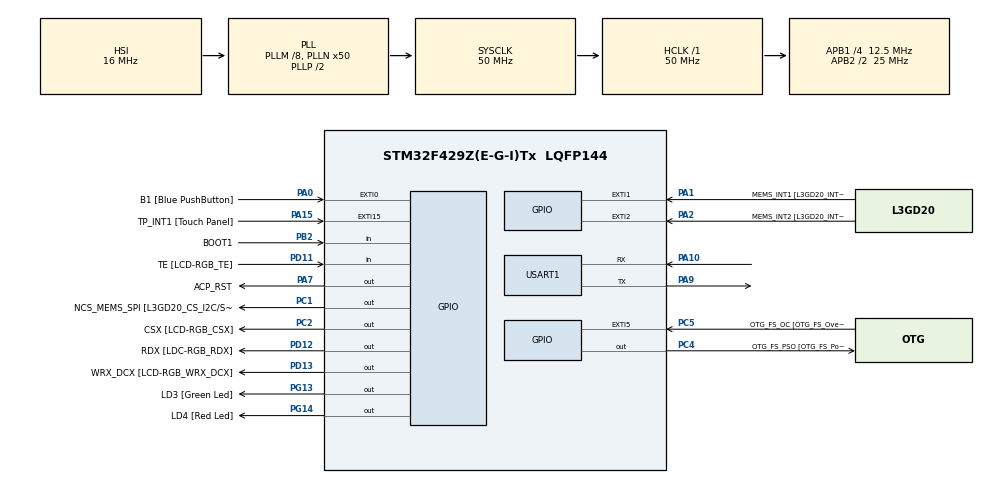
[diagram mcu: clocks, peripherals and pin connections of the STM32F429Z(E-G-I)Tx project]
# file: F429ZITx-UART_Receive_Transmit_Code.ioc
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Dma.Request0=USART1_RX
Dma.Request1=USART1_TX
Dma.USART1_RX.0.Direction=DMA_PERIPH_TO_MEMORY
Dma.USART1_RX.0.FIFOMode=DMA_FIFOMODE_DISABLE
Dma.USART1_RX.0.Instance=DMA2_Stream2
Dma.USART1_RX.0.MemDataAlignment=DMA_MDATAALIGN_BYTE
Dma.USART1_RX.0.MemInc=DMA_MINC_ENABLE
Dma.USART1_RX.0.Mode=DMA_CIRCULAR
Dma.USART1_RX.0.PeriphDataAlignment=DMA_PDATAALIGN_BYTE
Dma.USART1_RX.0.PeriphInc=DMA_PINC_DISABLE
Dma.USART1_RX.0.Priority=DMA_PRIORITY_LOW
Dma.USART1_TX.1.Direction=DMA_MEMORY_TO_PERIPH
Dma.USART1_TX.1.FIFOMode=DMA_FIFOMODE_DISABLE
Dma.USART1_TX.1.Instance=DMA2_Stream7
Dma.USART1_TX.1.MemDataAlignment=DMA_MDATAALIGN_BYTE
Dma.USART1_TX.1.MemInc=DMA_MINC_ENABLE
Dma.USART1_TX.1.Mode=DMA_NORMAL
Dma.USART1_TX.1.PeriphDataAlignment=DMA_PDATAALIGN_BYTE
Dma.USART1_TX.1.PeriphInc=DMA_PINC_DISABLE
Dma.USART1_TX.1.Priority=DMA_PRIORITY_LOW
Mcu.Family=STM32F4
Mcu.Name=STM32F429Z(E-G-I)Tx
Mcu.Package=LQFP144
NVIC.DMA2_Stream2_IRQn=true\:0\:0\:false\:false\:true
NVIC.DMA2_Stream7_IRQn=true\:0\:0\:false\:false\:true
NVIC.PriorityGroup=NVIC_PRIORITYGROUP_0
NVIC.TIM8_TRG_COM_TIM14_IRQn=true\:0\:0\:false\:false\:true
NVIC.USART1_IRQn=true\:0\:0\:false\:false\:true
PA0/WKUP.GPIO_Label=B1 [Blue PushButton]
PA0/WKUP.GPIO_ModeDefaultEXTI=GPIO_MODE_EVT_RISING
PA0/WKUP.GPIO_PuPd=GPIO_NOPULL
PA0/WKUP.Signal=GPXTI0
PA1.GPIO_Label=MEMS_INT1 [L3GD20_INT1]
PA1.GPIO_ModeDefaultEXTI=GPIO_MODE_EVT_RISING
PA1.GPIO_PuPd=GPIO_NOPULL
PA1.Signal=GPXTI1
PA10.Mode=Asynchronous
PA10.Signal=USART1_RX
PA11.GPIO_Label=R4
PA11.GPIO_Mode=GPIO_MODE_AF_PP
PA11.GPIO_PuPd=GPIO_NOPULL
PA11.GPIO_Speed=GPIO_SPEED_FREQ_LOW
PA11.Signal=LTDC_R4
PA12.GPIO_Label=R5
PA12.GPIO_Mode=GPIO_MODE_AF_PP
PA12.GPIO_PuPd=GPIO_NOPULL
PA12.GPIO_Speed=GPIO_SPEED_FREQ_LOW
PA12.Signal=LTDC_R5
PA13.GPIO_Label=SWDIO
PA13.Signal=SYS_JTMS-SWDIO
PA14.GPIO_Label=SWCLK
PA14.Signal=SYS_JTCK-SWCLK
PA15.GPIO_Label=TP_INT1 [Touch Panel]
PA15.GPIO_ModeDefaultEXTI=GPIO_MODE_EVT_RISING
PA15.GPIO_PuPd=GPIO_NOPULL
PA15.Signal=GPXTI15
PA2.GPIO_Label=MEMS_INT2 [L3GD20_INT2]
PA2.GPIO_ModeDefaultEXTI=GPIO_MODE_EVT_RISING
PA2.GPIO_PuPd=GPIO_NOPULL
PA2.Signal=GPXTI2
PA3.GPIO_Label=B5
PA3.GPIO_Mode=GPIO_MODE_AF_PP
PA3.GPIO_PuPd=GPIO_NOPULL
PA3.GPIO_Speed=GPIO_SPEED_FREQ_LOW
PA3.Signal=LTDC_B5
PA4.GPIO_Label=VSYNC
PA4.GPIO_Mode=GPIO_MODE_AF_PP
PA4.GPIO_PuPd=GPIO_NOPULL
PA4.GPIO_Speed=GPIO_SPEED_FREQ_LOW
PA4.Signal=LTDC_VSYNC
PA6.GPIO_Label=G2
PA6.GPIO_Mode=GPIO_MODE_AF_PP
PA6.GPIO_PuPd=GPIO_NOPULL
PA6.GPIO_Speed=GPIO_SPEED_FREQ_LOW
PA6.Signal=LTDC_G2
PA7.GPIO_Label=ACP_RST
PA7.GPIO_Mode=GPIO_MODE_OUTPUT_PP
PA7.GPIO_PuPd=GPIO_NOPULL
PA7.GPIO_Speed=GPIO_SPEED_FREQ_LOW
PA7.Signal=GPIO_Output
PA8.GPIO_Label=I2C3_SCL [ACP/RF_SCL]
PA8.GPIO_Mode=GPIO_MODE_AF_OD
PA8.GPIO_PuPd=GPIO_NOPULL
PA8.GPIO_Speed=GPIO_SPEED_FREQ_LOW
PA8.Signal=I2C3_SCL
PA9.Mode=Asynchronous
PA9.Signal=USART1_TX
PB0.GPIO_Label=R3
PB0.GPIO_Mode=GPIO_MODE_AF_PP
PB0.GPIO_PuPd=GPIO_NOPULL
PB0.GPIO_Speed=GPIO_SPEED_FREQ_LOW
PB0.Signal=LTDC_R3
PB1.GPIO_Label=R6
PB1.GPIO_Mode=GPIO_MODE_AF_PP
PB1.GPIO_PuPd=GPIO_NOPULL
PB1.GPIO_Speed=GPIO_SPEED_FREQ_LOW
PB1.Signal=LTDC_R6
PB10.GPIO_Label=G4
PB10.GPIO_Mode=GPIO_MODE_AF_PP
PB10.GPIO_PuPd=GPIO_NOPULL
PB10.GPIO_Speed=GPIO_SPEED_FREQ_LOW
PB10.Signal=LTDC_G4
PB11.GPIO_Label=G5
PB11.GPIO_Mode=GPIO_MODE_AF_PP
PB11.GPIO_PuPd=GPIO_NOPULL
PB11.GPIO_Speed=GPIO_SPEED_FREQ_LOW
PB11.Signal=LTDC_G5
PB12.GPIO_Label=OTG_FS_ID
PB12.GPIO_Mode=GPIO_MODE_AF_PP
PB12.GPIO_PuPd=GPIO_NOPULL
PB12.GPIO_Speed=GPIO_SPEED_FREQ_LOW
PB12.Signal=USB_OTG_HS_ID
PB13.GPIO_Label=VBUS_FS
PB13.GPIO_Mode=GPIO_MODE_INPUT
PB13.GPIO_PuPd=GPIO_NOPULL
PB13.Signal=USB_OTG_HS_VBUS
PB14.GPIO_Label=OTG_FS_DM
PB14.GPIO_Mode=GPIO_MODE_AF_PP
PB14.GPIO_PuPd=GPIO_NOPULL
PB14.GPIO_Speed=GPIO_SPEED_FREQ_LOW
PB14.Signal=USB_OTG_HS_DM
PB15.GPIO_Label=OTG_FS_DP
PB15.GPIO_Mode=GPIO_MODE_AF_PP
PB15.GPIO_PuPd=GPIO_NOPULL
PB15.GPIO_Speed=GPIO_SPEED_FREQ_LOW
PB15.Signal=USB_OTG_HS_DP
PB2/BOOT1.GPIO_Label=BOOT1
PB2/BOOT1.GPIO_Mode=GPIO_MODE_INPUT
PB2/BOOT1.GPIO_PuPd=GPIO_NOPULL
PB2/BOOT1.Signal=GPIO_Input
PB5.GPIO_Label=SDCKE1
PB5.GPIO_Mode=GPIO_MODE_AF_PP
PB5.GPIO_PuPd=GPIO_NOPULL
PB5.GPIO_Speed=GPIO_SPEED_FREQ_VERY_HIGH
PB5.Signal=FMC_SDCKE1
PB6.GPIO_Label=SDNE1 [SDRAM_CS]
PB6.GPIO_Mode=GPIO_MODE_AF_PP
PB6.GPIO_PuPd=GPIO_NOPULL
PB6.GPIO_Speed=GPIO_SPEED_FREQ_VERY_HIGH
PB6.Signal=FMC_SDNE1
PB8.GPIO_Label=B6
PB8.GPIO_Mode=GPIO_MODE_AF_PP
PB8.GPIO_PuPd=GPIO_NOPULL
PB8.GPIO_Speed=GPIO_SPEED_FREQ_LOW
PB8.Signal=LTDC_B6
PB9.GPIO_Label=B7
PB9.GPIO_Mode=GPIO_MODE_AF_PP
PB9.GPIO_PuPd=GPIO_NOPULL
PB9.GPIO_Speed=GPIO_SPEED_FREQ_LOW
PB9.Signal=LTDC_B7
PC0.GPIO_Label=SDNWE
PC0.GPIO_Mode=GPIO_MODE_AF_PP
PC0.GPIO_PuPd=GPIO_NOPULL
PC0.GPIO_Speed=GPIO_SPEED_FREQ_VERY_HIGH
PC0.Signal=FMC_SDNWE
PC1.GPIO_Label=NCS_MEMS_SPI [L3GD20_CS_I2C/SPI]
PC1.GPIO_Mode=GPIO_MODE_OUTPUT_PP
PC1.GPIO_PuPd=GPIO_NOPULL
PC1.GPIO_Speed=GPIO_SPEED_FREQ_LOW
PC1.Signal=GPIO_Output
PC10.GPIO_Label=R2
PC10.GPIO_Mode=GPIO_MODE_AF_PP
PC10.GPIO_PuPd=GPIO_NOPULL
PC10.GPIO_Speed=GPIO_SPEED_FREQ_LOW
PC10.Signal=LTDC_R2
PC14/OSC32_IN.GPIO_Label=PC14-OSC32_IN
PC14/OSC32_IN.Signal=RCC_OSC32_IN
PC15/OSC32_OUT.GPIO_Label=PC15-OSC32_OUT
PC15/OSC32_OUT.Signal=RCC_OSC32_OUT
PC2.GPIO_Label=CSX [LCD-RGB_CSX]
PC2.GPIO_Mode=GPIO_MODE_OUTPUT_PP
PC2.GPIO_PuPd=GPIO_NOPULL
PC2.GPIO_Speed=GPIO_SPEED_FREQ_LOW
PC2.Signal=GPIO_Output
PC4.GPIO_Label=OTG_FS_PSO [OTG_FS_PowerSwitchOn]
PC4.GPIO_Mode=GPIO_MODE_OUTPUT_PP
PC4.GPIO_PuPd=GPIO_NOPULL
PC4.GPIO_Speed=GPIO_SPEED_FREQ_LOW
PC4.Signal=GPIO_Output
PC5.GPIO_Label=OTG_FS_OC [OTG_FS_OverCurrent]
PC5.GPIO_ModeDefaultEXTI=GPIO_MODE_EVT_RISING
PC5.Signal=GPXTI5
PC6.GPIO_Label=HSYNC
PC6.GPIO_Mode=GPIO_MODE_AF_PP
PC6.GPIO_PuPd=GPIO_NOPULL
PC6.GPIO_Speed=GPIO_SPEED_FREQ_LOW
PC6.Signal=LTDC_HSYNC
PC7.GPIO_Label=G6
PC7.GPIO_Mode=GPIO_MODE_AF_PP
PC7.GPIO_PuPd=GPIO_NOPULL
PC7.GPIO_Speed=GPIO_SPEED_FREQ_LOW
PC7.Signal=LTDC_G6
PC9.GPIO_Label=I2C3_SDA [ACP/RF_SDA]
PC9.GPIO_Mode=GPIO_MODE_AF_OD
PC9.GPIO_PuPd=GPIO_NOPULL
PC9.GPIO_Speed=GPIO_SPEED_FREQ_LOW
PC9.Signal=I2C3_SDA
PD0.GPIO_Label=D2
PD0.GPIO_Mode=GPIO_MODE_AF_PP
PD0.GPIO_PuPd=GPIO_NOPULL
PD0.GPIO_Speed=GPIO_SPEED_FREQ_VERY_HIGH
PD0.Signal=FMC_D2_DA2
PD1.GPIO_Label=D3
PD1.GPIO_Mode=GPIO_MODE_AF_PP
PD1.GPIO_PuPd=GPIO_NOPULL
PD1.GPIO_Speed=GPIO_SPEED_FREQ_VERY_HIGH
PD1.Signal=FMC_D3_DA3
PD10.GPIO_Label=D15
PD10.GPIO_Mode=GPIO_MODE_AF_PP
PD10.GPIO_PuPd=GPIO_NOPULL
PD10.GPIO_Speed=GPIO_SPEED_FREQ_VERY_HIGH
PD10.Signal=FMC_D15_DA15
PD11.GPIO_Label=TE [LCD-RGB_TE]
PD11.GPIO_Mode=GPIO_MODE_INPUT
PD11.GPIO_PuPd=GPIO_NOPULL
PD11.Signal=GPIO_Input
PD12.GPIO_Label=RDX [LDC-RGB_RDX]
PD12.GPIO_Mode=GPIO_MODE_OUTPUT_PP
PD12.GPIO_PuPd=GPIO_NOPULL
PD12.GPIO_Speed=GPIO_SPEED_FREQ_LOW
PD12.Signal=GPIO_Output
PD13.GPIO_Label=WRX_DCX [LCD-RGB_WRX_DCX]
PD13.GPIO_Mode=GPIO_MODE_OUTPUT_PP
PD13.GPIO_PuPd=GPIO_NOPULL
PD13.GPIO_Speed=GPIO_SPEED_FREQ_LOW
PD13.Signal=GPIO_Output
PD14.GPIO_Label=D0
PD14.GPIO_Mode=GPIO_MODE_AF_PP
PD14.GPIO_PuPd=GPIO_NOPULL
PD14.GPIO_Speed=GPIO_SPEED_FREQ_VERY_HIGH
PD14.Signal=FMC_D0_DA0
PD15.GPIO_Label=D1
PD15.GPIO_Mode=GPIO_MODE_AF_PP
PD15.GPIO_PuPd=GPIO_NOPULL
PD15.GPIO_Speed=GPIO_SPEED_FREQ_VERY_HIGH
PD15.Signal=FMC_D1_DA1
PD3.GPIO_Label=G7
PD3.GPIO_Mode=GPIO_MODE_AF_PP
PD3.GPIO_PuPd=GPIO_NOPULL
PD3.GPIO_Speed=GPIO_SPEED_FREQ_LOW
PD3.Signal=LTDC_G7
PD6.GPIO_Label=B2
PD6.GPIO_Mode=GPIO_MODE_AF_PP
PD6.GPIO_PuPd=GPIO_NOPULL
PD6.GPIO_Speed=GPIO_SPEED_FREQ_LOW
PD6.Signal=LTDC_B2
PD8.GPIO_Label=D13
PD8.GPIO_Mode=GPIO_MODE_AF_PP
PD8.GPIO_PuPd=GPIO_NOPULL
PD8.GPIO_Speed=GPIO_SPEED_FREQ_VERY_HIGH
PD8.Signal=FMC_D13_DA13
PD9.GPIO_Label=D14
PD9.GPIO_Mode=GPIO_MODE_AF_PP
PD9.GPIO_PuPd=GPIO_NOPULL
PD9.GPIO_Speed=GPIO_SPEED_FREQ_VERY_HIGH
PD9.Signal=FMC_D14_DA14
PE0.GPIO_Label=NBL0 [SDRAM_LDQM]
PE0.GPIO_Mode=GPIO_MODE_AF_PP
PE0.GPIO_PuPd=GPIO_NOPULL
PE0.GPIO_Speed=GPIO_SPEED_FREQ_VERY_HIGH
PE0.Signal=FMC_NBL0
PE1.GPIO_Label=NBL1 [SDRAM_UDQM]
PE1.GPIO_Mode=GPIO_MODE_AF_PP
PE1.GPIO_PuPd=GPIO_NOPULL
PE1.GPIO_Speed=GPIO_SPEED_FREQ_VERY_HIGH
PE1.Signal=FMC_NBL1
PE10.GPIO_Label=D7
PE10.GPIO_Mode=GPIO_MODE_AF_PP
PE10.GPIO_PuPd=GPIO_NOPULL
PE10.GPIO_Speed=GPIO_SPEED_FREQ_VERY_HIGH
PE10.Signal=FMC_D7_DA7
PE11.GPIO_Label=D8
PE11.GPIO_Mode=GPIO_MODE_AF_PP
PE11.GPIO_PuPd=GPIO_NOPULL
PE11.GPIO_Speed=GPIO_SPEED_FREQ_VERY_HIGH
PE11.Signal=FMC_D8_DA8
PE12.GPIO_Label=D9
PE12.GPIO_Mode=GPIO_MODE_AF_PP
PE12.GPIO_PuPd=GPIO_NOPULL
PE12.GPIO_Speed=GPIO_SPEED_FREQ_VERY_HIGH
PE12.Signal=FMC_D9_DA9
PE13.GPIO_Label=D10
PE13.GPIO_Mode=GPIO_MODE_AF_PP
PE13.GPIO_PuPd=GPIO_NOPULL
PE13.GPIO_Speed=GPIO_SPEED_FREQ_VERY_HIGH
PE13.Signal=FMC_D10_DA10
PE14.GPIO_Label=D11
PE14.GPIO_Mode=GPIO_MODE_AF_PP
PE14.GPIO_PuPd=GPIO_NOPULL
PE14.GPIO_Speed=GPIO_SPEED_FREQ_VERY_HIGH
PE14.Signal=FMC_D11_DA11
PE15.GPIO_Label=D12
PE15.GPIO_Mode=GPIO_MODE_AF_PP
PE15.GPIO_PuPd=GPIO_NOPULL
PE15.GPIO_Speed=GPIO_SPEED_FREQ_VERY_HIGH
PE15.Signal=FMC_D12_DA12
PE7.GPIO_Label=D4
PE7.GPIO_Mode=GPIO_MODE_AF_PP
PE7.GPIO_PuPd=GPIO_NOPULL
PE7.GPIO_Speed=GPIO_SPEED_FREQ_VERY_HIGH
PE7.Signal=FMC_D4_DA4
PE8.GPIO_Label=D5
PE8.GPIO_Mode=GPIO_MODE_AF_PP
PE8.GPIO_PuPd=GPIO_NOPULL
PE8.GPIO_Speed=GPIO_SPEED_FREQ_VERY_HIGH
PE8.Signal=FMC_D5_DA5
PE9.GPIO_Label=D6
PE9.GPIO_Mode=GPIO_MODE_AF_PP
PE9.GPIO_PuPd=GPIO_NOPULL
PE9.GPIO_Speed=GPIO_SPEED_FREQ_VERY_HIGH
PE9.Signal=FMC_D6_DA6
PF0.GPIO_Label=A0
PF0.GPIO_Mode=GPIO_MODE_AF_PP
PF0.GPIO_PuPd=GPIO_NOPULL
PF0.GPIO_Speed=GPIO_SPEED_FREQ_VERY_HIGH
PF0.Signal=FMC_A0
PF1.GPIO_Label=A1
PF1.GPIO_Mode=GPIO_MODE_AF_PP
PF1.GPIO_PuPd=GPIO_NOPULL
PF1.GPIO_Speed=GPIO_SPEED_FREQ_VERY_HIGH
PF1.Signal=FMC_A1
PF10.GPIO_Label=ENABLE [LCD-RGB_ENABLE]
PF10.GPIO_Mode=GPIO_MODE_AF_PP
PF10.GPIO_PuPd=GPIO_NOPULL
PF10.GPIO_Speed=GPIO_SPEED_FREQ_LOW
PF10.Signal=LTDC_DE
PF11.GPIO_Label=SDNRAS
PF11.GPIO_Mode=GPIO_MODE_AF_PP
PF11.GPIO_PuPd=GPIO_NOPULL
PF11.GPIO_Speed=GPIO_SPEED_FREQ_VERY_HIGH
PF11.Signal=FMC_SDNRAS
PF12.GPIO_Label=A6
PF12.GPIO_Mode=GPIO_MODE_AF_PP
PF12.GPIO_PuPd=GPIO_NOPULL
PF12.GPIO_Speed=GPIO_SPEED_FREQ_VERY_HIGH
PF12.Signal=FMC_A6
PF13.GPIO_Label=A7
PF13.GPIO_Mode=GPIO_MODE_AF_PP
PF13.GPIO_PuPd=GPIO_NOPULL
PF13.GPIO_Speed=GPIO_SPEED_FREQ_VERY_HIGH
PF13.Signal=FMC_A7
PF14.GPIO_Label=A8
PF14.GPIO_Mode=GPIO_MODE_AF_PP
PF14.GPIO_PuPd=GPIO_NOPULL
PF14.GPIO_Speed=GPIO_SPEED_FREQ_VERY_HIGH
PF14.Signal=FMC_A8
PF15.GPIO_Label=A9
PF15.GPIO_Mode=GPIO_MODE_AF_PP
PF15.GPIO_PuPd=GPIO_NOPULL
PF15.GPIO_Speed=GPIO_SPEED_FREQ_VERY_HIGH
PF15.Signal=FMC_A9
PF2.GPIO_Label=A2
PF2.GPIO_Mode=GPIO_MODE_AF_PP
PF2.GPIO_PuPd=GPIO_NOPULL
PF2.GPIO_Speed=GPIO_SPEED_FREQ_VERY_HIGH
PF2.Signal=FMC_A2
PF3.GPIO_Label=A3
PF3.GPIO_Mode=GPIO_MODE_AF_PP
PF3.GPIO_PuPd=GPIO_NOPULL
PF3.GPIO_Speed=GPIO_SPEED_FREQ_VERY_HIGH
PF3.Signal=FMC_A3
PF4.GPIO_Label=A4
PF4.GPIO_Mode=GPIO_MODE_AF_PP
PF4.GPIO_PuPd=GPIO_NOPULL
PF4.GPIO_Speed=GPIO_SPEED_FREQ_VERY_HIGH
PF4.Signal=FMC_A4
PF5.GPIO_Label=A5
PF5.GPIO_Mode=GPIO_MODE_AF_PP
PF5.GPIO_PuPd=GPIO_NOPULL
PF5.GPIO_Speed=GPIO_SPEED_FREQ_VERY_HIGH
PF5.Signal=FMC_A5
PF7.GPIO_Label=SPI5_SCK [L3GD20_SCL/SPC]
PF7.GPIO_Mode=GPIO_MODE_AF_PP
PF7.GPIO_PuPd=GPIO_NOPULL
PF7.GPIO_Speed=GPIO_SPEED_FREQ_LOW
PF7.Signal=SPI5_SCK
PF8.GPIO_Label=SPI5_MISO [L3GD20_SDO]
PF8.GPIO_Mode=GPIO_MODE_AF_PP
PF8.GPIO_PuPd=GPIO_NOPULL
PF8.GPIO_Speed=GPIO_SPEED_FREQ_LOW
PF8.Signal=SPI5_MISO
PF9.GPIO_Label=SPI5_MOSI [L3GD20_SDA/SDI/SDO]
PF9.GPIO_Mode=GPIO_MODE_AF_PP
PF9.GPIO_PuPd=GPIO_NOPULL
PF9.GPIO_Speed=GPIO_SPEED_FREQ_LOW
PF9.Signal=SPI5_MOSI
PG0.GPIO_Label=A10
PG0.GPIO_Mode=GPIO_MODE_AF_PP
PG0.GPIO_PuPd=GPIO_NOPULL
PG0.GPIO_Speed=GPIO_SPEED_FREQ_VERY_HIGH
PG0.Signal=FMC_A10
PG1.GPIO_Label=A11
PG1.GPIO_Mode=GPIO_MODE_AF_PP
PG1.GPIO_PuPd=GPIO_NOPULL
PG1.GPIO_Speed=GPIO_SPEED_FREQ_VERY_HIGH
PG1.Signal=FMC_A11
PG10.GPIO_Label=G3
PG10.GPIO_Mode=GPIO_MODE_AF_PP
PG10.GPIO_PuPd=GPIO_NOPULL
PG10.GPIO_Speed=GPIO_SPEED_FREQ_LOW
PG10.Signal=LTDC_G3
PG11.GPIO_Label=B3
PG11.GPIO_Mode=GPIO_MODE_AF_PP
PG11.GPIO_PuPd=GPIO_NOPULL
PG11.GPIO_Speed=GPIO_SPEED_FREQ_LOW
PG11.Signal=LTDC_B3
PG12.GPIO_Label=B4
PG12.GPIO_Mode=GPIO_MODE_AF_PP
PG12.GPIO_PuPd=GPIO_NOPULL
PG12.GPIO_Speed=GPIO_SPEED_FREQ_LOW
PG12.Signal=LTDC_B4
PG13.GPIO_Label=LD3 [Green Led]
PG13.GPIO_Mode=GPIO_MODE_OUTPUT_PP
PG13.GPIO_PuPd=GPIO_NOPULL
PG13.GPIO_Speed=GPIO_SPEED_FREQ_LOW
PG13.Signal=GPIO_Output
PG14.GPIO_Label=LD4 [Red Led]
PG14.GPIO_Mode=GPIO_MODE_OUTPUT_PP
PG14.GPIO_PuPd=GPIO_NOPULL
PG14.GPIO_Speed=GPIO_SPEED_FREQ_LOW
PG14.Signal=GPIO_Output
PG15.GPIO_Label=SDNCAS
PG15.GPIO_Mode=GPIO_MODE_AF_PP
PG15.GPIO_PuPd=GPIO_NOPULL
PG15.GPIO_Speed=GPIO_SPEED_FREQ_VERY_HIGH
PG15.Signal=FMC_SDNCAS
PG4.GPIO_Label=BA0
PG4.GPIO_Mode=GPIO_MODE_AF_PP
PG4.GPIO_PuPd=GPIO_NOPULL
PG4.GPIO_Speed=GPIO_SPEED_FREQ_VERY_HIGH
PG4.Signal=FMC_A14_BA0
PG5.GPIO_Label=BA1
PG5.GPIO_Mode=GPIO_MODE_AF_PP
PG5.GPIO_PuPd=GPIO_NOPULL
PG5.GPIO_Speed=GPIO_SPEED_FREQ_VERY_HIGH
PG5.Signal=FMC_A15_BA1
PG6.GPIO_Label=R7
PG6.GPIO_Mode=GPIO_MODE_AF_PP
PG6.GPIO_PuPd=GPIO_NOPULL
PG6.GPIO_Speed=GPIO_SPEED_FREQ_LOW
PG6.Signal=LTDC_R7
PG7.GPIO_Label=DOTCLK [LCT-RGB_DOTCLK]
PG7.GPIO_Mode=GPIO_MODE_AF_PP
PG7.GPIO_PuPd=GPIO_NOPULL
PG7.GPIO_Speed=GPIO_SPEED_FREQ_LOW
PG7.Signal=LTDC_CLK
PG8.GPIO_Label=SDCLK
PG8.GPIO_Mode=GPIO_MODE_AF_PP
PG8.GPIO_PuPd=GPIO_NOPULL
PG8.GPIO_Speed=GPIO_SPEED_FREQ_VERY_HIGH
PG8.Signal=FMC_SDCLK
PH0/OSC_IN.GPIO_Label=PH0-OSC_IN
PH0/OSC_IN.Signal=RCC_OSC_IN
PH1/OSC_OUT.GPIO_Label=PH1-OSC_OUT
PH1/OSC_OUT.Signal=RCC_OSC_OUT
ProjectManager.HeapSize=0x200
ProjectManager.StackSize=0x400
ProjectManager.TargetToolchain=MDK-ARM V5
RCC.48MHZClocksFreq_Value=14285714.285714285
RCC.AHBFreq_Value=50000000
RCC.APB1CLKDivider=RCC_HCLK_DIV4
RCC.APB1Freq_Value=12500000
RCC.APB1TimFreq_Value=25000000
RCC.APB2CLKDivider=RCC_HCLK_DIV2
RCC.APB2Freq_Value=25000000
RCC.APB2TimFreq_Value=50000000
RCC.ClockTypeHCLK=RCC_CLOCKTYPE_HCLK
RCC.ClockTypePCLK1=RCC_CLOCKTYPE_PCLK1
RCC.ClockTypePCLK2=RCC_CLOCKTYPE_PCLK2
RCC.ClockTypeSysClk=RCC_CLOCKTYPE_SYSCLK
RCC.CortexFreq_Value=50000000
RCC.EnableExtClockForI2S=false
RCC.EnableExtClockForSAIA=false
RCC.EnableExtClockForSAIB=false
RCC.EnableHSE=false
RCC.EnableHSERTCDevisor=false
RCC.EnableLSE=false
RCC.EnableLSERTC=false
RCC.ExtClockEnable=false
RCC.HCLKFreq_Value=50000000
RCC.HSEState=RCC_HSE_OFF
RCC.HSE_VALUE=8000000
RCC.HSIState=RCC_HSI_ON
RCC.HSI_VALUE=16000000
RCC.I2SEnable=false
RCC.IWDGEnable=false
RCC.LSE_VALUE=32768
RCC.LSIState=RCC_LSI_OFF
RCC.LTDCEnable=false
RCC.MCO1OutPutEnable=false
RCC.MCO2OutPutEnable=false
RCC.OscillatorTypeHSI=RCC_OSCILLATORTYPE_HSI
RCC.PLLI2SCLKSAIA_BEnable=false
RCC.PLLM=8
RCC.PLLN=50
RCC.PLLQ=7
RCC.PLLSource=RCC_PLLSOURCE_HSI
RCC.PLLSourceVirtual=RCC_PLLSOURCE_HSI
RCC.PLLState=RCC_PLL_ON
RCC.RNGEnable=false
RCC.RTCEnable=false
RCC.SAIAEnable=false
RCC.SAIBEnable=false
RCC.SDIOEnable=false
RCC.SYSCLKFreq_VALUE=50000000
RCC.SYSCLKSource=RCC_SYSCLKSOURCE_PLLCLK
RCC.USBFSEnable=false
RCC.USBHSEnable=false
RCC.VCOOutputFreq_Value=100000000
SH.FMC_A0.0=FMC_A0
SH.FMC_A1.0=FMC_A1
SH.FMC_A10.0=FMC_A10
SH.FMC_A11.0=FMC_A11
SH.FMC_A14_BA0.0=FMC_BA0
SH.FMC_A15_BA1.0=FMC_BA1
SH.FMC_A2.0=FMC_A2
SH.FMC_A3.0=FMC_A3
SH.FMC_A4.0=FMC_A4
SH.FMC_A5.0=FMC_A5
SH.FMC_A6.0=FMC_A6
SH.FMC_A7.0=FMC_A7
SH.FMC_A8.0=FMC_A8
SH.FMC_A9.0=FMC_A9
SH.FMC_D0_DA0.0=FMC_D0
SH.FMC_D10_DA10.0=FMC_D10
SH.FMC_D11_DA11.0=FMC_D11
SH.FMC_D12_DA12.0=FMC_D12
SH.FMC_D13_DA13.0=FMC_D13
SH.FMC_D14_DA14.0=FMC_D14
SH.FMC_D15_DA15.0=FMC_D15
SH.FMC_D1_DA1.0=FMC_D1
SH.FMC_D2_DA2.0=FMC_D2
SH.FMC_D3_DA3.0=FMC_D3
SH.FMC_D4_DA4.0=FMC_D4
SH.FMC_D5_DA5.0=FMC_D5
SH.FMC_D6_DA6.0=FMC_D6
SH.FMC_D7_DA7.0=FMC_D7
SH.FMC_D8_DA8.0=FMC_D8
SH.FMC_D9_DA9.0=FMC_D9
SH.FMC_NBL0.0=FMC_NBL0
SH.FMC_NBL1.0=FMC_NBL1
SH.FMC_SDCLK.0=FMC_SDCLK
SH.FMC_SDNCAS.0=FMC_SDNCAS
SH.FMC_SDNRAS.0=FMC_SDNRAS
SH.FMC_SDNWE.0=FMC_SDNWE
TIM14.Period=500
TIM14.Prescaler=25000
USART1.HwFlowCtl-Asynchronous=UART_HWCONTROL_NONE
USART1.VirtualMode=VM_ASYNC
VP_TIM14_VS_ClockSourceINT.Mode=Enable_Timer
board=STM32F429I-DISCO

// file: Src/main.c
/**
  ******************************************************************************
  * File Name          : main.c
  * Description        : Main program body
  ******************************************************************************
  *
  * COPYRIGHT(c) 2017 STMicroelectronics
  *
  * Redistribution and use in source and binary forms, with or without modification,
  * are permitted provided that the following conditions are met:
  *   1. Redistributions of source code must retain the above copyright notice,
  *      this list of conditions and the following disclaimer.
  *   2. Redistributions in binary form must reproduce the above copyright notice,
  *      this list of conditions and the following disclaimer in the documentation
  *      and/or other materials provided with the distribution.
  *   3. Neither the name of STMicroelectronics nor the names of its contributors
  *      may be used to endorse or promote products derived from this software
  *      without specific prior written permission.
  *
  * THIS SOFTWARE IS PROVIDED BY THE COPYRIGHT HOLDERS AND CONTRIBUTORS "AS IS"
  * AND ANY EXPRESS OR IMPLIED WARRANTIES, INCLUDING, BUT NOT LIMITED TO, THE
  * IMPLIED WARRANTIES OF MERCHANTABILITY AND FITNESS FOR A PARTICULAR PURPOSE ARE
  * DISCLAIMED. IN NO EVENT SHALL THE COPYRIGHT HOLDER OR CONTRIBUTORS BE LIABLE
  * FOR ANY DIRECT, INDIRECT, INCIDENTAL, SPECIAL, EXEMPLARY, OR CONSEQUENTIAL
  * DAMAGES (INCLUDING, BUT NOT LIMITED TO, PROCUREMENT OF SUBSTITUTE GOODS OR
  * SERVICES; LOSS OF USE, DATA, OR PROFITS; OR BUSINESS INTERRUPTION) HOWEVER
  * CAUSED AND ON ANY THEORY OF LIABILITY, WHETHER IN CONTRACT, STRICT LIABILITY,
  * OR TORT (INCLUDING NEGLIGENCE OR OTHERWISE) ARISING IN ANY WAY OUT OF THE USE
  * OF THIS SOFTWARE, EVEN IF ADVISED OF THE POSSIBILITY OF SUCH DAMAGE.
  *
  ******************************************************************************
  */
#include "main.h"
#include "stm32f4xx_hal.h"
#include "stdbool.h"
#include "drv_command.h"

/* USER CODE BEGIN Includes */
#define UART_BUF_SIZE				12 // Main receive buffer size
#define CMD_SIZE 						6

/* USER CODE END Includes */

TIM_HandleTypeDef htim14;

UART_HandleTypeDef huart1;
DMA_HandleTypeDef hdma_usart1_rx;
DMA_HandleTypeDef hdma_usart1_tx;

/* USER CODE BEGIN PV */
/* Private variables ---------------------------------------------------------*/

extern uint8_t main_uart1_buf_byte;
extern uint8_t	main_uart1_buf_pos;
extern uint8_t	main_uart1_buf_proc;

extern volatile bool is_Received;
extern volatile bool is_Parsed;

extern uint8_t main_uart1_buf[UART_BUF_SIZE];
extern uint8_t str[CMD_SIZE];
extern rec_cmd command;

/* USER CODE END PV */

void SystemClock_Config(void);
void Error_Handler(void);
static void MX_GPIO_Init(void);
static void MX_DMA_Init(void);
static void MX_USART1_UART_Init(void);
static void MX_TIM14_Init(void);

/* USER CODE BEGIN PFP */
/* Private function prototypes -----------------------------------------------*/

/* USER CODE END PFP */

int main(void)
{

  /* MCU Configuration----------------------------------------------------------*/

  /* Reset of all peripherals, Initializes the Flash interface and the Systick. */
  HAL_Init();

  /* Configure the system clock */
  SystemClock_Config();

  /* Initialize all configured peripherals */
  MX_GPIO_Init();
  MX_DMA_Init();
  MX_USART1_UART_Init();
  MX_TIM14_Init();

  /* USER CODE BEGIN 2 */

	HAL_TIM_Base_Start_IT(&htim14);
	HAL_UART_Receive_DMA(&huart1, main_uart1_buf, sizeof(main_uart1_buf));

  /* USER CODE END 2 */

  /* Infinite loop */
  while (1)
  {

  /* USER CODE BEGIN 3 */
	if(is_Received && is_Parsed)
	{
		if(command.payload[0] == 1) // Check if correct module
		{

		}
		is_Received = false;
	}

  }
  /* USER CODE END 3 */

}

/** System Clock Configuration
*/
void SystemClock_Config(void)
{

  RCC_OscInitTypeDef RCC_OscInitStruct;
  RCC_ClkInitTypeDef RCC_ClkInitStruct;

    /**Configure the main internal regulator output voltage
    */
  __HAL_RCC_PWR_CLK_ENABLE();

  __HAL_PWR_VOLTAGESCALING_CONFIG(PWR_REGULATOR_VOLTAGE_SCALE3);

    /**Initializes the CPU, AHB and APB busses clocks
    */
  RCC_OscInitStruct.OscillatorType = RCC_OSCILLATORTYPE_HSI;
  RCC_OscInitStruct.HSIState = RCC_HSI_ON;
  RCC_OscInitStruct.HSICalibrationValue = 16;
  RCC_OscInitStruct.PLL.PLLState = RCC_PLL_ON;
  RCC_OscInitStruct.PLL.PLLSource = RCC_PLLSOURCE_HSI;
  RCC_OscInitStruct.PLL.PLLM = 8;
  RCC_OscInitStruct.PLL.PLLN = 50;
  RCC_OscInitStruct.PLL.PLLP = RCC_PLLP_DIV2;
  RCC_OscInitStruct.PLL.PLLQ = 7;
  if (HAL_RCC_OscConfig(&RCC_OscInitStruct) != HAL_OK)
  {
    Error_Handler();
  }

    /**Initializes the CPU, AHB and APB busses clocks
    */
  RCC_ClkInitStruct.ClockType = RCC_CLOCKTYPE_HCLK|RCC_CLOCKTYPE_SYSCLK
                              |RCC_CLOCKTYPE_PCLK1|RCC_CLOCKTYPE_PCLK2;
  RCC_ClkInitStruct.SYSCLKSource = RCC_SYSCLKSOURCE_PLLCLK;
  RCC_ClkInitStruct.AHBCLKDivider = RCC_SYSCLK_DIV1;
  RCC_ClkInitStruct.APB1CLKDivider = RCC_HCLK_DIV4;
  RCC_ClkInitStruct.APB2CLKDivider = RCC_HCLK_DIV2;

  if (HAL_RCC_ClockConfig(&RCC_ClkInitStruct, FLASH_LATENCY_1) != HAL_OK)
  {
    Error_Handler();
  }

    /**Configure the Systick interrupt time
    */
  HAL_SYSTICK_Config(HAL_RCC_GetHCLKFreq()/1000);

    /**Configure the Systick
    */
  HAL_SYSTICK_CLKSourceConfig(SYSTICK_CLKSOURCE_HCLK);

  /* SysTick_IRQn interrupt configuration */
  HAL_NVIC_SetPriority(SysTick_IRQn, 0, 0);
}

/* TIM14 init function */
static void MX_TIM14_Init(void)
{

  htim14.Instance = TIM14;
  htim14.Init.Prescaler = 25000;
  htim14.Init.CounterMode = TIM_COUNTERMODE_UP;
  htim14.Init.Period = 500;
  htim14.Init.ClockDivision = TIM_CLOCKDIVISION_DIV1;
  if (HAL_TIM_Base_Init(&htim14) != HAL_OK)
  {
    Error_Handler();
  }

}

/* USART1 init function */
static void MX_USART1_UART_Init(void)
{

  huart1.Instance = USART1;
  huart1.Init.BaudRate = 115200;
  huart1.Init.WordLength = UART_WORDLENGTH_8B;
  huart1.Init.StopBits = UART_STOPBITS_1;
  huart1.Init.Parity = UART_PARITY_NONE;
  huart1.Init.Mode = UART_MODE_TX_RX;
  huart1.Init.HwFlowCtl = UART_HWCONTROL_NONE;
  huart1.Init.OverSampling = UART_OVERSAMPLING_16;
  if (HAL_UART_Init(&huart1) != HAL_OK)
  {
    Error_Handler();
  }

}

static void MX_DMA_Init(void)
{
  /* DMA controller clock enable */
  __HAL_RCC_DMA2_CLK_ENABLE();

  /* DMA interrupt init */
  /* DMA2_Stream2_IRQn interrupt configuration */
  HAL_NVIC_SetPriority(DMA2_Stream2_IRQn, 0, 0);
  HAL_NVIC_EnableIRQ(DMA2_Stream2_IRQn);
  /* DMA2_Stream7_IRQn interrupt configuration */
  HAL_NVIC_SetPriority(DMA2_Stream7_IRQn, 0, 0);
  HAL_NVIC_EnableIRQ(DMA2_Stream7_IRQn);

}

/** Configure pins as
        * Analog
        * Input
        * Output
        * EVENT_OUT
        * EXTI
     PF0   ------> FMC_A0
     PF1   ------> FMC_A1
     PF2   ------> FMC_A2
     PF3   ------> FMC_A3
     PF4   ------> FMC_A4
     PF5   ------> FMC_A5
     PF7   ------> SPI5_SCK
     PF8   ------> SPI5_MISO
     PF9   ------> SPI5_MOSI
     PF10   ------> LTDC_DE
     PC0   ------> FMC_SDNWE
     PA3   ------> LTDC_B5
     PA4   ------> LTDC_VSYNC
     PA6   ------> LTDC_G2
     PB0   ------> LTDC_R3
     PB1   ------> LTDC_R6
     PF11   ------> FMC_SDNRAS
     PF12   ------> FMC_A6
     PF13   ------> FMC_A7
     PF14   ------> FMC_A8
     PF15   ------> FMC_A9
     PG0   ------> FMC_A10
     PG1   ------> FMC_A11
     PE7   ------> FMC_D4_DA4
     PE8   ------> FMC_D5_DA5
     PE9   ------> FMC_D6_DA6
     PE10   ------> FMC_D7_DA7
     PE11   ------> FMC_D8_DA8
     PE12   ------> FMC_D9_DA9
     PE13   ------> FMC_D10_DA10
     PE14   ------> FMC_D11_DA11
     PE15   ------> FMC_D12_DA12
     PB10   ------> LTDC_G4
     PB11   ------> LTDC_G5
     PB12   ------> USB_OTG_HS_ID
     PB13   ------> USB_OTG_HS_VBUS
     PB14   ------> USB_OTG_HS_DM
     PB15   ------> USB_OTG_HS_DP
     PD8   ------> FMC_D13_DA13
     PD9   ------> FMC_D14_DA14
     PD10   ------> FMC_D15_DA15
     PD14   ------> FMC_D0_DA0
     PD15   ------> FMC_D1_DA1
     PG4   ------> FMC_A14_BA0
     PG5   ------> FMC_A15_BA1
     PG6   ------> LTDC_R7
     PG7   ------> LTDC_CLK
     PG8   ------> FMC_SDCLK
     PC6   ------> LTDC_HSYNC
     PC7   ------> LTDC_G6
     PC9   ------> I2C3_SDA
     PA8   ------> I2C3_SCL
     PA11   ------> LTDC_R4
     PA12   ------> LTDC_R5
     PC10   ------> LTDC_R2
     PD0   ------> FMC_D2_DA2
     PD1   ------> FMC_D3_DA3
     PD3   ------> LTDC_G7
     PD6   ------> LTDC_B2
     PG10   ------> LTDC_G3
     PG11   ------> LTDC_B3
     PG12   ------> LTDC_B4
     PG15   ------> FMC_SDNCAS
     PB5   ------> FMC_SDCKE1
     PB6   ------> FMC_SDNE1
     PB8   ------> LTDC_B6
     PB9   ------> LTDC_B7
     PE0   ------> FMC_NBL0
     PE1   ------> FMC_NBL1
*/
static void MX_GPIO_Init(void)
{

  GPIO_InitTypeDef GPIO_InitStruct;

  /* GPIO Ports Clock Enable */
  __HAL_RCC_GPIOC_CLK_ENABLE();
  __HAL_RCC_GPIOF_CLK_ENABLE();
  __HAL_RCC_GPIOH_CLK_ENABLE();
  __HAL_RCC_GPIOA_CLK_ENABLE();
  __HAL_RCC_GPIOB_CLK_ENABLE();
  __HAL_RCC_GPIOG_CLK_ENABLE();
  __HAL_RCC_GPIOE_CLK_ENABLE();
  __HAL_RCC_GPIOD_CLK_ENABLE();

  /*Configure GPIO pin Output Level */
  HAL_GPIO_WritePin(GPIOC, NCS_MEMS_SPI_Pin|CSX_Pin|OTG_FS_PSO_Pin, GPIO_PIN_RESET);

  /*Configure GPIO pin Output Level */
  HAL_GPIO_WritePin(ACP_RST_GPIO_Port, ACP_RST_Pin, GPIO_PIN_RESET);

  /*Configure GPIO pin Output Level */
  HAL_GPIO_WritePin(GPIOD, RDX_Pin|WRX_DCX_Pin, GPIO_PIN_RESET);

  /*Configure GPIO pin Output Level */
  HAL_GPIO_WritePin(GPIOG, LD3_Pin|LD4_Pin, GPIO_PIN_RESET);

  /*Configure GPIO pins : A0_Pin A1_Pin A2_Pin A3_Pin
                           A4_Pin A5_Pin SDNRAS_Pin A6_Pin
                           A7_Pin A8_Pin A9_Pin */
  GPIO_InitStruct.Pin = A0_Pin|A1_Pin|A2_Pin|A3_Pin
                          |A4_Pin|A5_Pin|SDNRAS_Pin|A6_Pin
                          |A7_Pin|A8_Pin|A9_Pin;
  GPIO_InitStruct.Mode = GPIO_MODE_AF_PP;
  GPIO_InitStruct.Pull = GPIO_NOPULL;
  GPIO_InitStruct.Speed = GPIO_SPEED_FREQ_VERY_HIGH;
  GPIO_InitStruct.Alternate = GPIO_AF12_FMC;
  HAL_GPIO_Init(GPIOF, &GPIO_InitStruct);

  /*Configure GPIO pins : SPI5_SCK_Pin SPI5_MISO_Pin SPI5_MOSI_Pin */
  GPIO_InitStruct.Pin = SPI5_SCK_Pin|SPI5_MISO_Pin|SPI5_MOSI_Pin;
  GPIO_InitStruct.Mode = GPIO_MODE_AF_PP;
  GPIO_InitStruct.Pull = GPIO_NOPULL;
  GPIO_InitStruct.Speed = GPIO_SPEED_FREQ_LOW;
  GPIO_InitStruct.Alternate = GPIO_AF5_SPI5;
  HAL_GPIO_Init(GPIOF, &GPIO_InitStruct);

  /*Configure GPIO pin : ENABLE_Pin */
  GPIO_InitStruct.Pin = ENABLE_Pin;
  GPIO_InitStruct.Mode = GPIO_MODE_AF_PP;
  GPIO_InitStruct.Pull = GPIO_NOPULL;
  GPIO_InitStruct.Speed = GPIO_SPEED_FREQ_LOW;
  GPIO_InitStruct.Alternate = GPIO_AF14_LTDC;
  HAL_GPIO_Init(ENABLE_GPIO_Port, &GPIO_InitStruct);

  /*Configure GPIO pin : SDNWE_Pin */
  GPIO_InitStruct.Pin = SDNWE_Pin;
  GPIO_InitStruct.Mode = GPIO_MODE_AF_PP;
  GPIO_InitStruct.Pull = GPIO_NOPULL;
  GPIO_InitStruct.Speed = GPIO_SPEED_FREQ_VERY_HIGH;
  GPIO_InitStruct.Alternate = GPIO_AF12_FMC;
  HAL_GPIO_Init(SDNWE_GPIO_Port, &GPIO_InitStruct);

  /*Configure GPIO pins : NCS_MEMS_SPI_Pin CSX_Pin OTG_FS_PSO_Pin */
  GPIO_InitStruct.Pin = NCS_MEMS_SPI_Pin|CSX_Pin|OTG_FS_PSO_Pin;
  GPIO_InitStruct.Mode = GPIO_MODE_OUTPUT_PP;
  GPIO_InitStruct.Pull = GPIO_NOPULL;
  GPIO_InitStruct.Speed = GPIO_SPEED_FREQ_LOW;
  HAL_GPIO_Init(GPIOC, &GPIO_InitStruct);

  /*Configure GPIO pins : B1_Pin MEMS_INT1_Pin MEMS_INT2_Pin TP_INT1_Pin */
  GPIO_InitStruct.Pin = B1_Pin|MEMS_INT1_Pin|MEMS_INT2_Pin|TP_INT1_Pin;
  GPIO_InitStruct.Mode = GPIO_MODE_EVT_RISING;
  GPIO_InitStruct.Pull = GPIO_NOPULL;
  HAL_GPIO_Init(GPIOA, &GPIO_InitStruct);

  /*Configure GPIO pins : B5_Pin VSYNC_Pin G2_Pin R4_Pin
                           R5_Pin */
  GPIO_InitStruct.Pin = B5_Pin|VSYNC_Pin|G2_Pin|R4_Pin
                          |R5_Pin;
  GPIO_InitStruct.Mode = GPIO_MODE_AF_PP;
  GPIO_InitStruct.Pull = GPIO_NOPULL;
  GPIO_InitStruct.Speed = GPIO_SPEED_FREQ_LOW;
  GPIO_InitStruct.Alternate = GPIO_AF14_LTDC;
  HAL_GPIO_Init(GPIOA, &GPIO_InitStruct);

  /*Configure GPIO pin : ACP_RST_Pin */
  GPIO_InitStruct.Pin = ACP_RST_Pin;
  GPIO_InitStruct.Mode = GPIO_MODE_OUTPUT_PP;
  GPIO_InitStruct.Pull = GPIO_NOPULL;
  GPIO_InitStruct.Speed = GPIO_SPEED_FREQ_LOW;
  HAL_GPIO_Init(ACP_RST_GPIO_Port, &GPIO_InitStruct);

  /*Configure GPIO pin : OTG_FS_OC_Pin */
  GPIO_InitStruct.Pin = OTG_FS_OC_Pin;
  GPIO_InitStruct.Mode = GPIO_MODE_EVT_RISING;
  GPIO_InitStruct.Pull = GPIO_NOPULL;
  HAL_GPIO_Init(OTG_FS_OC_GPIO_Port, &GPIO_InitStruct);

  /*Configure GPIO pins : R3_Pin R6_Pin */
  GPIO_InitStruct.Pin = R3_Pin|R6_Pin;
  GPIO_InitStruct.Mode = GPIO_MODE_AF_PP;
  GPIO_InitStruct.Pull = GPIO_NOPULL;
  GPIO_InitStruct.Speed = GPIO_SPEED_FREQ_LOW;
  GPIO_InitStruct.Alternate = GPIO_AF9_LTDC;
  HAL_GPIO_Init(GPIOB, &GPIO_InitStruct);

  /*Configure GPIO pin : BOOT1_Pin */
  GPIO_InitStruct.Pin = BOOT1_Pin;
  GPIO_InitStruct.Mode = GPIO_MODE_INPUT;
  GPIO_InitStruct.Pull = GPIO_NOPULL;
  HAL_GPIO_Init(BOOT1_GPIO_Port, &GPIO_InitStruct);

  /*Configure GPIO pins : A10_Pin A11_Pin BA0_Pin BA1_Pin
                           SDCLK_Pin SDNCAS_Pin */
  GPIO_InitStruct.Pin = A10_Pin|A11_Pin|BA0_Pin|BA1_Pin
                          |SDCLK_Pin|SDNCAS_Pin;
  GPIO_InitStruct.Mode = GPIO_MODE_AF_PP;
  GPIO_InitStruct.Pull = GPIO_NOPULL;
  GPIO_InitStruct.Speed = GPIO_SPEED_FREQ_VERY_HIGH;
  GPIO_InitStruct.Alternate = GPIO_AF12_FMC;
  HAL_GPIO_Init(GPIOG, &GPIO_InitStruct);

  /*Configure GPIO pins : D4_Pin D5_Pin D6_Pin D7_Pin
                           D8_Pin D9_Pin D10_Pin D11_Pin
                           D12_Pin NBL0_Pin NBL1_Pin */
  GPIO_InitStruct.Pin = D4_Pin|D5_Pin|D6_Pin|D7_Pin
                          |D8_Pin|D9_Pin|D10_Pin|D11_Pin
                          |D12_Pin|NBL0_Pin|NBL1_Pin;
  GPIO_InitStruct.Mode = GPIO_MODE_AF_PP;
  GPIO_InitStruct.Pull = GPIO_NOPULL;
  GPIO_InitStruct.Speed = GPIO_SPEED_FREQ_VERY_HIGH;
  GPIO_InitStruct.Alternate = GPIO_AF12_FMC;
  HAL_GPIO_Init(GPIOE, &GPIO_InitStruct);

  /*Configure GPIO pins : G4_Pin G5_Pin B6_Pin B7_Pin */
  GPIO_InitStruct.Pin = G4_Pin|G5_Pin|B6_Pin|B7_Pin;
  GPIO_InitStruct.Mode = GPIO_MODE_AF_PP;
  GPIO_InitStruct.Pull = GPIO_NOPULL;
  GPIO_InitStruct.Speed = GPIO_SPEED_FREQ_LOW;
  GPIO_InitStruct.Alternate = GPIO_AF14_LTDC;
  HAL_GPIO_Init(GPIOB, &GPIO_InitStruct);

  /*Configure GPIO pins : OTG_FS_ID_Pin OTG_FS_DM_Pin OTG_FS_DP_Pin */
  GPIO_InitStruct.Pin = OTG_FS_ID_Pin|OTG_FS_DM_Pin|OTG_FS_DP_Pin;
  GPIO_InitStruct.Mode = GPIO_MODE_AF_PP;
  GPIO_InitStruct.Pull = GPIO_NOPULL;
  GPIO_InitStruct.Speed = GPIO_SPEED_FREQ_LOW;
  GPIO_InitStruct.Alternate = GPIO_AF12_OTG_HS_FS;
  HAL_GPIO_Init(GPIOB, &GPIO_InitStruct);

  /*Configure GPIO pin : VBUS_FS_Pin */
  GPIO_InitStruct.Pin = VBUS_FS_Pin;
  GPIO_InitStruct.Mode = GPIO_MODE_INPUT;
  GPIO_InitStruct.Pull = GPIO_NOPULL;
  HAL_GPIO_Init(VBUS_FS_GPIO_Port, &GPIO_InitStruct);

  /*Configure GPIO pins : D13_Pin D14_Pin D15_Pin D0_Pin
                           D1_Pin D2_Pin D3_Pin */
  GPIO_InitStruct.Pin = D13_Pin|D14_Pin|D15_Pin|D0_Pin
                          |D1_Pin|D2_Pin|D3_Pin;
  GPIO_InitStruct.Mode = GPIO_MODE_AF_PP;
  GPIO_InitStruct.Pull = GPIO_NOPULL;
  GPIO_InitStruct.Speed = GPIO_SPEED_FREQ_VERY_HIGH;
  GPIO_InitStruct.Alternate = GPIO_AF12_FMC;
  HAL_GPIO_Init(GPIOD, &GPIO_InitStruct);

  /*Configure GPIO pin : TE_Pin */
  GPIO_InitStruct.Pin = TE_Pin;
  GPIO_InitStruct.Mode = GPIO_MODE_INPUT;
  GPIO_InitStruct.Pull = GPIO_NOPULL;
  HAL_GPIO_Init(TE_GPIO_Port, &GPIO_InitStruct);

  /*Configure GPIO pins : RDX_Pin WRX_DCX_Pin */
  GPIO_InitStruct.Pin = RDX_Pin|WRX_DCX_Pin;
  GPIO_InitStruct.Mode = GPIO_MODE_OUTPUT_PP;
  GPIO_InitStruct.Pull = GPIO_NOPULL;
  GPIO_InitStruct.Speed = GPIO_SPEED_FREQ_LOW;
  HAL_GPIO_Init(GPIOD, &GPIO_InitStruct);

  /*Configure GPIO pins : R7_Pin DOTCLK_Pin B3_Pin */
  GPIO_InitStruct.Pin = R7_Pin|DOTCLK_Pin|B3_Pin;
  GPIO_InitStruct.Mode = GPIO_MODE_AF_PP;
  GPIO_InitStruct.Pull = GPIO_NOPULL;
  GPIO_InitStruct.Speed = GPIO_SPEED_FREQ_LOW;
  GPIO_InitStruct.Alternate = GPIO_AF14_LTDC;
  HAL_GPIO_Init(GPIOG, &GPIO_InitStruct);

  /*Configure GPIO pins : HSYNC_Pin G6_Pin R2_Pin */
  GPIO_InitStruct.Pin = HSYNC_Pin|G6_Pin|R2_Pin;
  GPIO_InitStruct.Mode = GPIO_MODE_AF_PP;
  GPIO_InitStruct.Pull = GPIO_NOPULL;
  GPIO_InitStruct.Speed = GPIO_SPEED_FREQ_LOW;
  GPIO_InitStruct.Alternate = GPIO_AF14_LTDC;
  HAL_GPIO_Init(GPIOC, &GPIO_InitStruct);

  /*Configure GPIO pin : I2C3_SDA_Pin */
  GPIO_InitStruct.Pin = I2C3_SDA_Pin;
  GPIO_InitStruct.Mode = GPIO_MODE_AF_OD;
  GPIO_InitStruct.Pull = GPIO_PULLUP;
  GPIO_InitStruct.Speed = GPIO_SPEED_FREQ_LOW;
  GPIO_InitStruct.Alternate = GPIO_AF4_I2C3;
  HAL_GPIO_Init(I2C3_SDA_GPIO_Port, &GPIO_InitStruct);

  /*Configure GPIO pin : I2C3_SCL_Pin */
  GPIO_InitStruct.Pin = I2C3_SCL_Pin;
  GPIO_InitStruct.Mode = GPIO_MODE_AF_OD;
  GPIO_InitStruct.Pull = GPIO_PULLUP;
  GPIO_InitStruct.Speed = GPIO_SPEED_FREQ_LOW;
  GPIO_InitStruct.Alternate = GPIO_AF4_I2C3;
  HAL_GPIO_Init(I2C3_SCL_GPIO_Port, &GPIO_InitStruct);

  /*Configure GPIO pins : G7_Pin B2_Pin */
  GPIO_InitStruct.Pin = G7_Pin|B2_Pin;
  GPIO_InitStruct.Mode = GPIO_MODE_AF_PP;
  GPIO_InitStruct.Pull = GPIO_NOPULL;
  GPIO_InitStruct.Speed = GPIO_SPEED_FREQ_LOW;
  GPIO_InitStruct.Alternate = GPIO_AF14_LTDC;
  HAL_GPIO_Init(GPIOD, &GPIO_InitStruct);

  /*Configure GPIO pins : G3_Pin B4_Pin */
  GPIO_InitStruct.Pin = G3_Pin|B4_Pin;
  GPIO_InitStruct.Mode = GPIO_MODE_AF_PP;
  GPIO_InitStruct.Pull = GPIO_NOPULL;
  GPIO_InitStruct.Speed = GPIO_SPEED_FREQ_LOW;
  GPIO_InitStruct.Alternate = GPIO_AF9_LTDC;
  HAL_GPIO_Init(GPIOG, &GPIO_InitStruct);

  /*Configure GPIO pins : LD3_Pin LD4_Pin */
  GPIO_InitStruct.Pin = LD3_Pin|LD4_Pin;
  GPIO_InitStruct.Mode = GPIO_MODE_OUTPUT_PP;
  GPIO_InitStruct.Pull = GPIO_NOPULL;
  GPIO_InitStruct.Speed = GPIO_SPEED_FREQ_LOW;
  HAL_GPIO_Init(GPIOG, &GPIO_InitStruct);

  /*Configure GPIO pins : SDCKE1_Pin SDNE1_Pin */
  GPIO_InitStruct.Pin = SDCKE1_Pin|SDNE1_Pin;
  GPIO_InitStruct.Mode = GPIO_MODE_AF_PP;
  GPIO_InitStruct.Pull = GPIO_NOPULL;
  GPIO_InitStruct.Speed = GPIO_SPEED_FREQ_VERY_HIGH;
  GPIO_InitStruct.Alternate = GPIO_AF12_FMC;
  HAL_GPIO_Init(GPIOB, &GPIO_InitStruct);

}

void Error_Handler(void)
{
  while(1)
  {
  }
}

/************************ (C) COPYRIGHT STMicroelectronics *****END OF FILE****/
